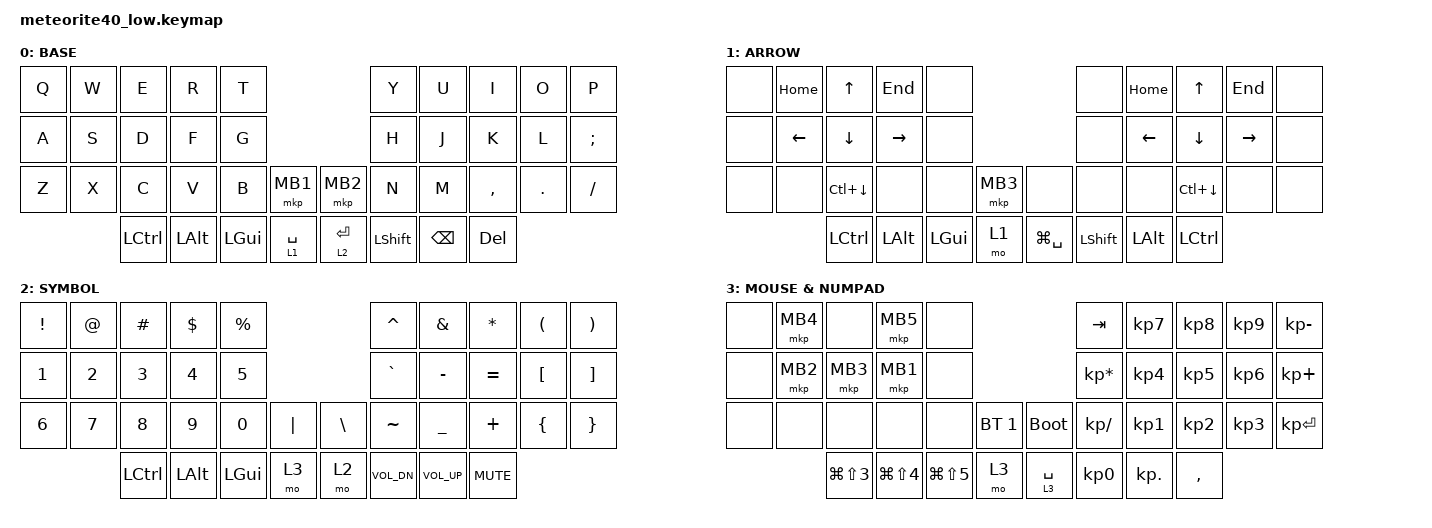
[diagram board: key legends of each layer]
#include <behaviors.dtsi>
#include <dt-bindings/zmk/bt.h>
#include <dt-bindings/zmk/keys.h>
#include <dt-bindings/zmk/pointing.h>

&mt {
    flavor = "tap-preferred"; // change hold to tap
    tapping-term-ms = <250>; // 連続タップ
    quick-tap-ms = <200>;
};

&lt {
    flavor = "tap-preferred";
    tapping-term-ms = <250>;
    quick-tap-ms = <200>;
};

/ { 
    combos {
        compatible = "zmk,combos";

        esc {
            bindings = <&kp ESCAPE>;
            key-positions = <0 1>;
            layers = <0>;
        };

        caps {
            bindings = <&kp CAPS>;
            key-positions = <20 21>;
            layers = <0>;
        };

        tab {
            bindings = <&kp TAB>;
            key-positions = <10 11>;
            layers = <0>;
        };

        backspace {
            bindings = <&kp BSPC>;
            key-positions = <8 9>;
            layers = <0 3>;
        };

        delete {
            bindings = <&kp DEL>;
            key-positions = <5 6>;
            layers = <0 3>;
        };

        rightbracket {
            bindings = <&kp LS(N9)>;
            key-positions = <6 7>;
            layers = <0>;
        };

        leftbracket {
            bindings = <&kp LS(N0)>;
            key-positions = <7 8>;
            layers = <0>;
        };

        gui_space {
            bindings = <&kp LG(SPACE)>;
            key-positions = <35 36>;
            layers = <0>;
        };

        grave {
            bindings = <&kp GRAVE>;
            key-positions = <15 16>;
            layers = <0>;
        };

        dash {
            bindings = <&kp MINUS>;
            key-positions = <16 17>;
            layers = <0>;
        };

        equal {
            bindings = <&kp EQUAL>;
            key-positions = <17 18>;
            layers = <0>;
        };

        quote {
            bindings = <&kp SQT>;
            key-positions = <18 19>;
            layers = <0>;
        };

        tilde {
            bindings = <&kp LS(GRAVE)>;
            key-positions = <27 28>;
            layers = <0>;
        };

        underscore {
            bindings = <&kp LS(MINUS)>;
            key-positions = <28 29>;
            layers = <0>;
        };

        plus {
            bindings = <&kp LS(EQUAL)>;
            key-positions = <29 30>;
            layers = <0>;
        };

        backslash {
            bindings = <&kp BSLH>;
            key-positions = <30 31>;
            layers = <0>;
        };

        boot_combo {
            bindings = <&bootloader>;
            key-positions = <20 31>;
            layers = <1 3>;
        };

        n0_combo {
            bindings = <&kp N0>;
            key-positions = <32 33>;
            layers = <0>;
        };

        n1_combo {
            bindings = <&kp N1>;
            key-positions = <21 22>;
            layers = <0>;
        };

        n2_combo {
            bindings = <&kp N2>;
            key-positions = <22 23>;
            layers = <0>;
        };

        n3_combo {
            bindings = <&kp N3>;
            key-positions = <23 24>;
            layers = <0>;
        };

        n4_combo {
            bindings = <&kp N4>;
            key-positions = <11 12>;
            layers = <0>;
        };

        n5_combo {
            bindings = <&kp N5>;
            key-positions = <12 13>;
            layers = <0>;
        };

        n6_combo {
            bindings = <&kp N6>;
            key-positions = <13 14>;
            layers = <0>;
        };

        n7_combo {
            bindings = <&kp N7>;
            key-positions = <1 2>;
            layers = <0>;
        };

        n8_combo {
            bindings = <&kp N8>;
            key-positions = <2 3>;
            layers = <0>;
        };

        n9_combo {
            bindings = <&kp N9>;
            key-positions = <3 4>;
            layers = <0>;
        };
    };

    keymap {
        compatible = "zmk,keymap";
        layout = &LOW_PROFILE_DEFAULT;

        win_default_layer {
            display-name = "BASE";
            bindings = <
                &kp Q        &kp W       &kp E        &kp R        &kp T                                 &kp Y        &kp U       &kp I       &kp O      &kp P
                &kp A        &kp S       &kp D        &kp F        &kp G                                 &kp H        &kp J       &kp K       &kp L      &kp SEMI
                &kp Z        &kp X       &kp C        &kp V        &kp B        &mkp MB1     &mkp MB2    &kp N        &kp M       &kp COMMA   &kp DOT    &kp SLASH
                                        &kp LCTRL  &kp LALT  &kp LGUI   &lt 1 SPACE  &lt 2 ENTER  &kp LSHIFT  &kp BSPC  &kp DEL
            >;
        };

        layer_1 {
            display-name = "ARROW";
            bindings = <
                &none      &kp HOME    &kp UP       &kp END    &none                           &none      &kp HOME    &kp UP       &kp END    &none
                &none      &kp LEFT    &kp DOWN     &kp RIGHT  &none                           &none      &kp LEFT    &kp DOWN     &kp RIGHT  &none
                &none      &none       &kp LC(DOWN) &none      &none     &mkp MB3   &none      &none      &none       &kp LC(DOWN) &none      &none
                                     &kp LCTRL  &kp LALT  &kp LGUI   &mo 1   &kp LG(SPACE)    &kp LSHIFT  &kp LALT  &kp LCTRL
            >;
        };

        layer_2 {
            display-name = "SYMBOL";
            bindings = <
                &kp EXCL    &kp AT      &kp HASH     &kp DLLR     &kp PRCNT                            &kp CARET      &kp AMPS     &kp STAR      &kp LPAR      &kp RPAR
                &kp N1      &kp N2      &kp N3       &kp N4       &kp N5                               &kp GRAVE      &kp MINUS    &kp EQUAL     &kp LBKT      &kp RBKT
                &kp N6      &kp N7      &kp N8       &kp N9       &kp N0      &kp PIPE    &kp BSLH     &kp TILDE    &kp UNDERSCORE &kp PLUS      &kp LBRC       &kp RBRC
                        &kp LCTRL    &kp LALT   &kp LGUI   &mo 3    &mo 2    &kp C_VOL_DN   &kp C_VOL_UP   &kp C_MUTE
            >;
        };

        layer_3 {
            display-name = "MOUSE & NUMPAD";
            bindings = <
                &none    &mkp MB4     &none     &mkp MB5     &none                                 &kp TAB         &kp KP_N7      &kp KP_N8      &kp KP_N9      &kp KP_MINUS
                &none    &mkp MB2     &mkp MB3  &mkp MB1     &none                                 &kp KP_ASTERISK &kp KP_N4     &kp KP_N5      &kp KP_N6      &kp KP_PLUS
                &none    &none        &none     &none        &none   &bt BT_SEL 1   &bootloader    &kp KP_SLASH    &kp KP_N1      &kp KP_N2      &kp KP_N3      &kp KP_ENTER
                        &kp LG(LS(N3))   &kp LG(LS(N4))   &kp LG(LS(N5))   &mo 3    &lt 3 SPACE     &kp KP_N0      &kp KP_DOT     &kp COMMA
            >;
        };


    };
};
